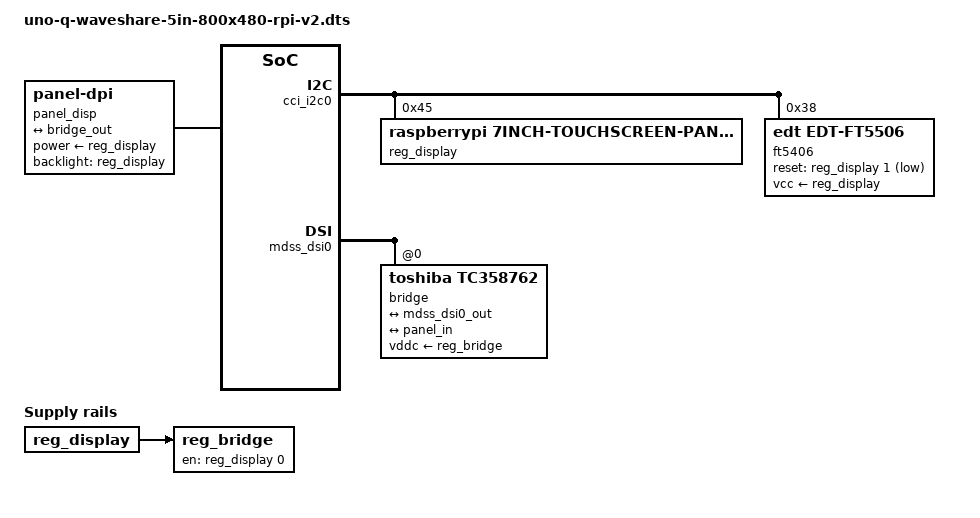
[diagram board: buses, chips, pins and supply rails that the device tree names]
// SPDX-License-Identifier: GPL-2.0
/*
 * Arduino UNO Q + UNO Media Carrier + Waveshare 5inch DSI LCD (800x480)
 * VERSION 2 - a faithful port of Raspberry Pi's own vc4-kms-dsi-7inch overlay.
 *
 * Waveshare's wiki tells you to use `dtoverlay=vc4-kms-dsi-7inch`, i.e. RPi's
 * overlay and drivers. v1 of this file was written from the mainline bindings
 * and got three things structurally wrong:
 *
 *  1. RESET ORDERING.  RPi does NOT put reset-gpios on the tc358762. Instead an
 *     intermediate fixed regulator ("reg_bridge") has the ATTINY's gpio 0 as its
 *     ENABLE gpio, and the bridge's vddc-supply points at that regulator. So the
 *     bridge reset is released as part of regulator enable, *before* the bridge
 *     driver's pre_enable runs. v1 released it inside pre_enable - and that was
 *     exactly the I2C write that kept timing out.
 *
 *  2. TIMINGS.  v1 used the timings from panel-raspberrypi-touchscreen.c
 *     (clock 25.9794 MHz, hfp 1, hbp 46, vbp 21). The tc358762 + panel-simple
 *     path uses a completely different mode:
 *         clock 30 MHz, hfp 131, hsync 2, hbp 45, vfp 7, vsync 2, vbp 22
 *     A 130-pixel error in the front porch.
 *
 *  3. TOUCH.  compatible is "edt,edt-ft5506" (not ft5406), with vcc-supply and
 *     a reset-gpio off the ATTINY's gpio 1. RPi's node has no interrupt either.
 *
 * Reference: raspberrypi/linux rpi-6.12.y
 *   arch/arm/boot/dts/overlays/vc4-kms-dsi-7inch-overlay.dts
 *   arch/arm/boot/dts/overlays/edt-ft5406.dtsi
 *   drivers/gpu/drm/panel/panel-simple.c  (raspberrypi_7inch)
 *
 * Build:
 *   dtc -@ -I dts -O dtb -o uno-q-waveshare-5in-800x480-rpi-v2.dtbo <this file>
 */

/dts-v1/;
/plugin/;

/ {
	/* ---- I2C: the ATTINY panel controller, and the touch controller ---- */
	fragment@0 {
		target = <&cci_i2c0>;
		__overlay__ {
			#address-cells = <1>;
			#size-cells = <0>;

			reg_display: regulator@45 {
				compatible = "raspberrypi,7inch-touchscreen-panel-regulator";
				reg = <0x45>;
				gpio-controller;
				#gpio-cells = <2>;
			};

			/* RPi: edt-ft5406.dtsi. gpio 1 = RST_TP_N, active low. */
			ft5406: touchscreen@38 {
				compatible = "edt,edt-ft5506";
				reg = <0x38>;
				vcc-supply = <&reg_display>;
				reset-gpio = <&reg_display 1 1>;
				touchscreen-size-x = <800>;
				touchscreen-size-y = <480>;
				touchscreen-inverted-x;
				touchscreen-inverted-y;
			};
		};
	};

	/* ---- the intermediate bridge regulator (THE key structural fix) ----
	 * Enabling this drives ATTINY gpio 0 high, which releases RST_BRIDGE_N
	 * (and RST_LCD_N). vin-supply chains it behind the ATTINY regulator so
	 * the ordering is guaranteed.
	 */
	fragment@1 {
		target-path = "/";
		__overlay__ {
			reg_bridge: reg-bridge {
				compatible = "regulator-fixed";
				regulator-name = "bridge_reg";
				gpio = <&reg_display 0 0>;
				vin-supply = <&reg_display>;
				enable-active-high;
			};

			panel_disp: panel-dpi {
				compatible = "panel-dpi";
				backlight = <&reg_display>;
				power-supply = <&reg_display>;
				width-mm = <154>;
				height-mm = <86>;

				/* raspberrypi_7inch_mode from RPi's panel-simple.c */
				panel-timing {
					clock-frequency = <30000000>;
					hactive = <800>;
					hfront-porch = <131>;
					hsync-len = <2>;
					hback-porch = <45>;
					vactive = <480>;
					vfront-porch = <7>;
					vsync-len = <2>;
					vback-porch = <22>;
					hsync-active = <0>;	/* NHSYNC */
					vsync-active = <0>;	/* NVSYNC */
					de-active = <1>;
					pixelclk-active = <1>;
				};

				port {
					panel_in: endpoint {
						remote-endpoint = <&bridge_out>;
					};
				};
			};
		};
	};

	/* ---- TC358762 DSI-to-DPI bridge ----
	 * NOTE: no reset-gpios here, deliberately. vddc-supply = <&reg_bridge>
	 * is what releases the reset, exactly as RPi does it.
	 */
	fragment@2 {
		target = <&mdss_dsi0>;
		__overlay__ {
			#address-cells = <1>;
			#size-cells = <0>;
			vdda-supply = <&pm4125_l5>;
			status = "okay";

			bridge@0 {
				reg = <0>;
				compatible = "toshiba,tc358762";
				vddc-supply = <&reg_bridge>;

				ports {
					#address-cells = <1>;
					#size-cells = <0>;

					port@0 {
						reg = <0>;
						bridge_in: endpoint {
							remote-endpoint = <&mdss_dsi0_out>;
						};
					};

					port@1 {
						reg = <1>;
						bridge_out: endpoint {
							remote-endpoint = <&panel_in>;
						};
					};
				};
			};
		};
	};

	/* ---- DSI output: 1 lane (tc358762.c sets dsi->lanes = 1) ---- */
	fragment@3 {
		target = <&mdss_dsi0_out>;
		__overlay__ {
			remote-endpoint = <&bridge_in>;
			data-lanes = <0>;
		};
	};
};
